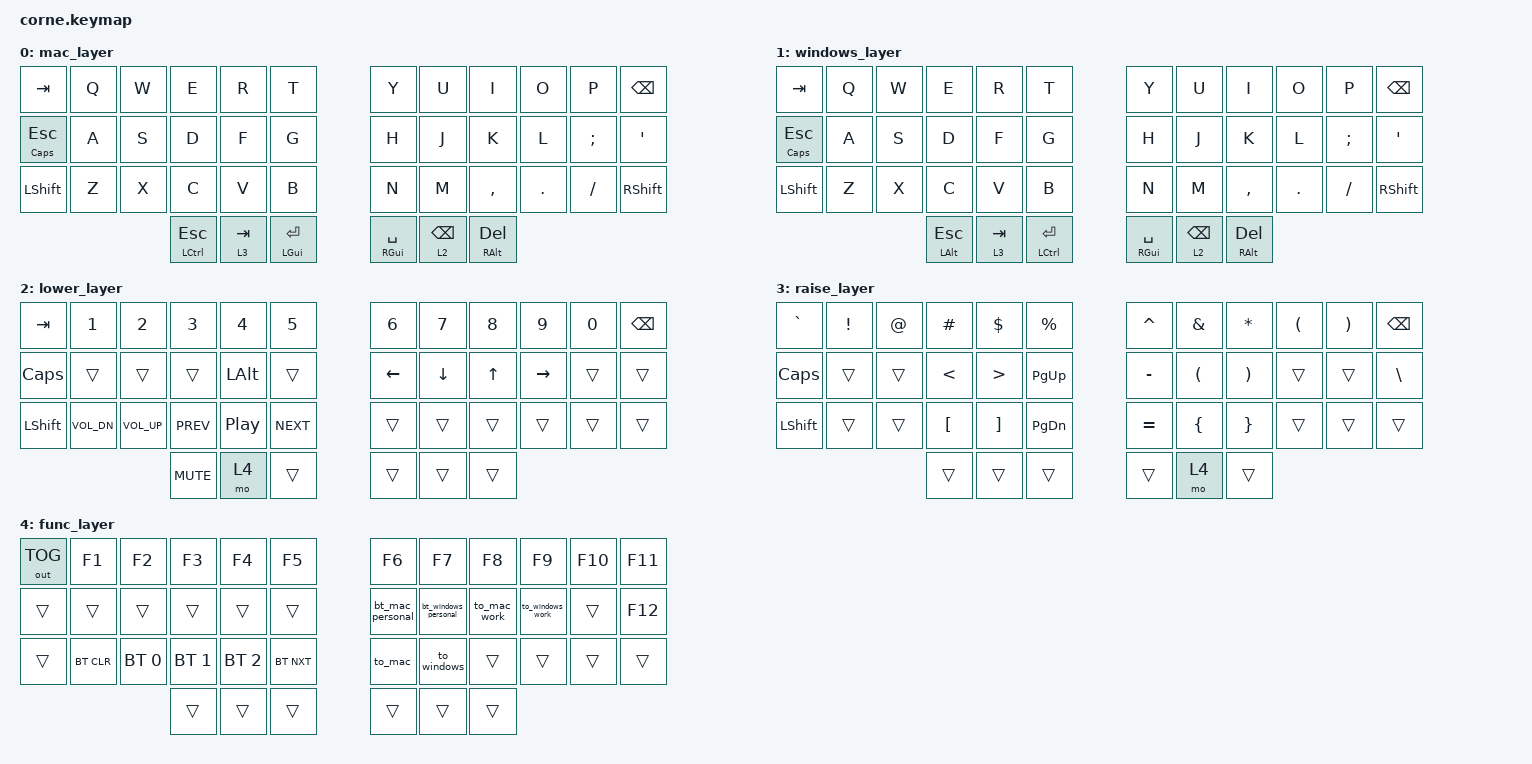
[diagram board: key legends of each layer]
/*
 * Copyright (c) 2020 The ZMK Contributors
 *
 * SPDX-License-Identifier: MIT
 */

#include <behaviors.dtsi>
#include <dt-bindings/zmk/bt.h>
#include <dt-bindings/zmk/keys.h>
#include <dt-bindings/zmk/outputs.h>

/ {
    //layers {
    //    default_layer;
    //    windows_layer;
    //    lower_layer;
    //    upper_layer;
    //    func_layer;
    //};

    macros {
        to_windows: to_windows {
            label = "TO_WINDOWS";
            compatible = "zmk,behavior-macro";
            #binding-cells = <0>;
            bindings = <&to 1>;
        };

        to_mac: to_mac {
            label = "TO_MAC";
            compatible = "zmk,behavior-macro";
            #binding-cells = <0>;
            bindings = <&to 2>;
        };

        bt_mac_personal: bt_mac_switch {
            compatible = "zmk,behavior-macro";
            #binding-cells = <0>;
            bindings = <&bt BT_SEL 0 &to 0>;
            label = "BT_MAC_SWITCH";
        };

        bt_windows_personal: bt_windows_switch {
            compatible = "zmk,behavior-macro";
            #binding-cells = <0>;
            bindings = <&bt BT_SEL 1 &to 1>;
            label = "BT_WINDOWS_SWITCH";
        };

        to_mac_work: to_personal_windows {
            compatible = "zmk,behavior-macro";
            #binding-cells = <0>;
            bindings = <&bt BT_SEL 2 &to 0>;
            label = "TO_PERSONAL_WINDOWS";
        };

        to_windows_work: to_windows_work {
            compatible = "zmk,behavior-macro";
            #binding-cells = <0>;
            bindings = <&bt BT_SEL 3 &to 1>;
            label = "TO_WINDOWS_WORK";
        };
    };

    keymap {
        compatible = "zmk,keymap";

        mac_layer {
            // -----------------------------------------------------------------------------------------
            // |  TAB |  Q  |  W  |  E  |  R  |  T  |   |  Y  |  U   |  I  |  O  |  P  | BKSP |
            // | CTRL |  A  |  S  |  D  |  F  |  G  |   |  H  |  J   |  K  |  L  |  ;  |  '   |
            // | SHFT |  Z  |  X  |  C  |  V  |  B  |   |  N  |  M   |  ,  |  .  |  /  | ESC  |
            //                    | GUI | LWR | SPC |   | ENT | RSE  | ALT |

            bindings = <
&kp TAB              &kp Q  &kp W  &kp E                    &kp R      &kp T                 &kp Y                &kp U            &kp I                 &kp O    &kp P     &kp BSPC
&mt CAPSLOCK ESCAPE  &kp A  &kp S  &kp D                    &kp F      &kp G                 &kp H                &kp J            &kp K                 &kp L    &kp SEMI  &kp SQT
&kp LSHFT            &kp Z  &kp X  &kp C                    &kp V      &kp B                 &kp N                &kp M            &kp COMMA             &kp DOT  &kp FSLH  &kp RIGHT_SHIFT
                                   &mt LEFT_CONTROL ESCAPE  &lt 3 TAB  &mt LEFT_GUI ENTER    &mt RIGHT_GUI SPACE  &lt 2 BACKSPACE  &mt RIGHT_ALT DELETE
            >;
        };

        windows_layer {
            // -----------------------------------------------------------------------------------------
            // |  TAB |  Q  |  W  |  E  |  R  |  T  |   |  Y  |  U   |  I  |  O  |  P  | BKSP |
            // | CTRL |  A  |  S  |  D  |  F  |  G  |   |  H  |  J   |  K  |  L  |  ;  |  '   |
            // | SHFT |  Z  |  X  |  C  |  V  |  B  |   |  N  |  M   |  ,  |  .  |  /  | ESC  |
            //                    | GUI | LWR | SPC |   | ENT | RSE  | ALT |

            bindings = <
&kp TAB              &kp Q  &kp W  &kp E                &kp R      &kp T                     &kp Y                &kp U            &kp I                 &kp O    &kp P     &kp BSPC
&mt CAPSLOCK ESCAPE  &kp A  &kp S  &kp D                &kp F      &kp G                     &kp H                &kp J            &kp K                 &kp L    &kp SEMI  &kp SQT
&kp LSHFT            &kp Z  &kp X  &kp C                &kp V      &kp B                     &kp N                &kp M            &kp COMMA             &kp DOT  &kp FSLH  &kp RIGHT_SHIFT
                                   &mt LEFT_ALT ESCAPE  &lt 3 TAB  &mt LEFT_CONTROL ENTER    &mt RIGHT_GUI SPACE  &lt 2 BACKSPACE  &mt RIGHT_ALT DELETE
            >;
        };

        lower_layer {
            // -----------------------------------------------------------------------------------------
            // |  TAB |  1  |  2  |  3  |  4  |  5  |   |  6  |  7  |  8  |  9  |  0  | BKSP |
            // | BTCLR| BT1 | BT2 | BT3 | BT4 | BT5 |   | LFT | DWN |  UP | RGT |     |      |
            // | SHFT |     |     |     |     |     |   |     |     |     |     |     |      |
            //                    | GUI |     | SPC |   | ENT |     | ALT |

            bindings = <
&kp TAB    &kp N1  &kp N2  &kp N3  &kp N4        &kp N5    &kp N6      &kp N7            &kp N8      &kp N9        &kp N0        &kp BSPC
&kp CAPS   &trans  &trans  &trans  &kp LEFT_ALT  &trans    &kp LEFT    &kp DOWN          &kp UP      &kp RIGHT     &trans        &trans
&kp LSHFT  &kp C_VOL_DN  &kp C_VOL_UP  &kp C_PREV  &kp C_PLAY_PAUSE  &kp C_NEXT    &trans  &trans  &trans  &trans  &trans  &trans
                           &kp C_MUTE  &mo 4         &trans    &trans      &trans            &trans
            >;
        };

        raise_layer {
            // -----------------------------------------------------------------------------------------
            // |  TAB |  !  |  @  |  #  |  $  |  %  |   |  ^  |  &  |  *  |  (  |  )  | BKSP |
            // | CTRL |     |     |     |     |     |   |  -  |  =  |  [  |  ]  |  \  |  `   |
            // | SHFT |     |     |     |     |     |   |  _  |  +  |  {  |  }  | "|" |  ~   |
            //                    | GUI |     | SPC |   | ENT |     | ALT |

            bindings = <
&kp GRAVE  &kp EXCL  &kp AT  &kp HASH          &kp DLLR           &kp PRCNT        &kp CARET  &kp AMPS              &kp ASTRK              &kp LPAR  &kp RPAR  &kp BSPC
&kp CAPS   &trans    &trans  &kp LESS_THAN     &kp GREATER_THAN   &kp PAGE_UP      &kp MINUS  &kp LEFT_PARENTHESIS  &kp RIGHT_PARENTHESIS  &trans    &trans    &kp BACKSLASH
&kp LSHFT  &trans    &trans  &kp LEFT_BRACKET  &kp RIGHT_BRACKET  &kp PAGE_DOWN    &kp EQUAL  &kp LEFT_BRACE        &kp RIGHT_BRACE        &trans    &trans    &trans
                             &trans            &trans             &trans           &trans     &mo 4                 &trans
            >;
        };

        func_layer {
            bindings = <
&out OUT_TOG  &kp F1      &kp F2        &kp F3        &kp F4        &kp F5        &kp F6            &kp F7                &kp F8        &kp F9            &kp F10  &kp F11
&trans        &trans      &trans        &trans        &trans        &trans        &bt_mac_personal  &bt_windows_personal  &to_mac_work  &to_windows_work  &trans   &kp F12
&trans        &bt BT_CLR  &bt BT_SEL 0  &bt BT_SEL 1  &bt BT_SEL 2  &bt BT_NXT    &to_mac           &to_windows           &trans        &trans            &trans   &trans
                                        &trans        &trans        &trans        &trans            &trans                &trans
            >;
        };
    };
};
